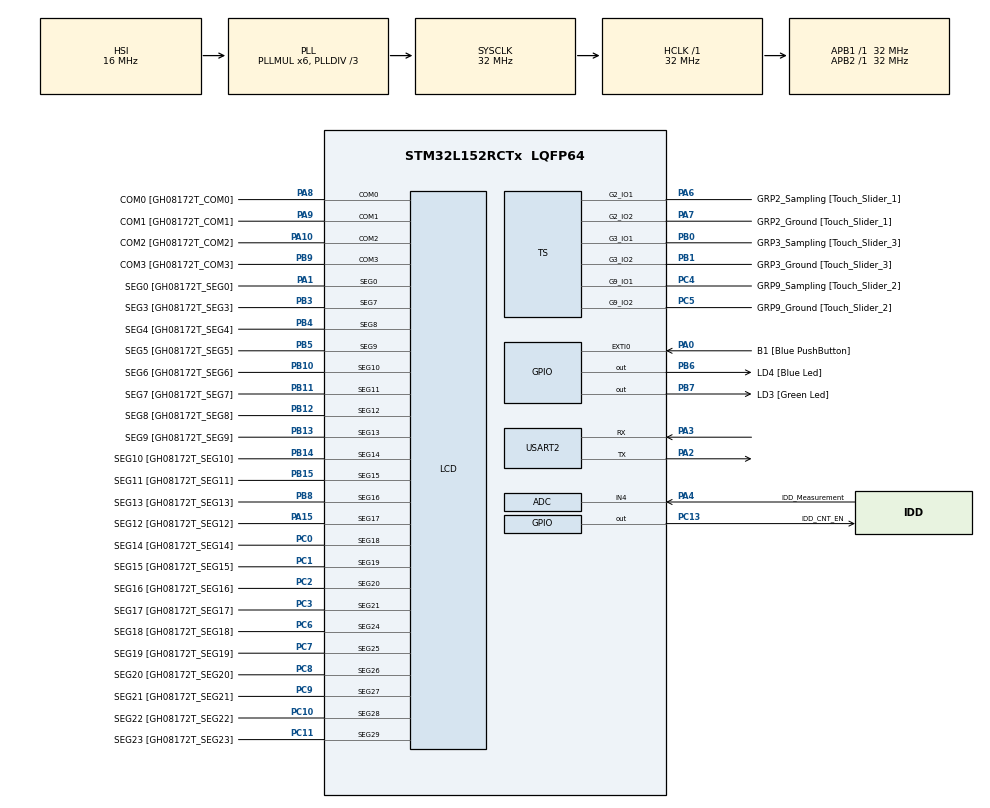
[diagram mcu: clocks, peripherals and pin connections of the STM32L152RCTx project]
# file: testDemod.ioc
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ADC.Channel=ADC_CHANNEL_4
ADC.Channel-0\#ChannelRegularConversion=ADC_CHANNEL_4
ADC.Channel-IN4=ADC_CHANNEL_4
ADC.ExternalTrigConv=ADC_EXTERNALTRIGCONV_T2_CC3
ADC.ExternalTrigConv-0\#ChannelRegularConversion=ADC_SOFTWARE_START
ADC.ExternalTrigConvEdge=ADC_EXTERNALTRIGCONVEDGE_RISING
ADC.Rank-0\#ChannelRegularConversion=1
ADC.SamplingTime-0\#ChannelRegularConversion=ADC_SAMPLETIME_4CYCLES
Mcu.Family=STM32L1
Mcu.Name=STM32L152RCTx
Mcu.Package=LQFP64
NVIC.PriorityGroup=NVIC_PRIORITYGROUP_0
PA0-WKUP1.GPIO_Label=B1 [Blue PushButton]
PA0-WKUP1.GPIO_ModeDefaultEXTI=GPIO_MODE_EVT_RISING
PA0-WKUP1.GPIO_PuPd=GPIO_NOPULL
PA0-WKUP1.Signal=GPXTI0
PA1.GPIO_Label=SEG0 [GH08172T_SEG0]
PA1.GPIO_Mode=GPIO_MODE_AF_PP
PA1.GPIO_PuPd=GPIO_NOPULL
PA1.GPIO_Speed=GPIO_SPEED_FREQ_LOW
PA1.Mode=SEG0
PA1.Signal=LCD_SEG0
PA10.GPIO_Label=COM2 [GH08172T_COM2]
PA10.GPIO_Mode=GPIO_MODE_AF_PP
PA10.GPIO_PuPd=GPIO_NOPULL
PA10.GPIO_Speed=GPIO_SPEED_FREQ_LOW
PA10.Mode=1/4 Duty Cycle
PA10.Signal=LCD_COM2
PA13.GPIO_Label=SWDIO
PA13.Mode=Serial_Wire
PA13.Signal=SYS_JTMS-SWDIO
PA14.GPIO_Label=SWCLK
PA14.Mode=Serial_Wire
PA14.Signal=SYS_JTCK-SWCLK
PA15.GPIO_Label=SEG12 [GH08172T_SEG12]
PA15.GPIO_Mode=GPIO_MODE_AF_PP
PA15.GPIO_PuPd=GPIO_NOPULL
PA15.GPIO_Speed=GPIO_SPEED_FREQ_LOW
PA15.Mode=SEG17
PA15.Signal=LCD_SEG17
PA2.Mode=Asynchronous
PA2.Signal=USART2_TX
PA3.Mode=Asynchronous
PA3.Signal=USART2_RX
PA4.GPIO_Label=IDD_Measurement
PA4.GPIO_Mode=GPIO_MODE_ANALOG
PA4.GPIO_PuPd=GPIO_NOPULL
PA4.Mode=IN4
PA4.Signal=ADC_IN4
PA6.GPIO_Label=GRP2_Sampling [Touch_Slider_1]
PA6.Mode=G2_IO1-Sampling
PA6.Signal=TS_G2_IO1
PA7.GPIO_Label=GRP2_Ground [Touch_Slider_1]
PA7.Mode=G2_IO2-Channel
PA7.Signal=TS_G2_IO2
PA8.GPIO_Label=COM0 [GH08172T_COM0]
PA8.GPIO_Mode=GPIO_MODE_AF_PP
PA8.GPIO_PuPd=GPIO_NOPULL
PA8.GPIO_Speed=GPIO_SPEED_FREQ_LOW
PA8.Mode=1/4 Duty Cycle
PA8.Signal=LCD_COM0
PA9.GPIO_Label=COM1 [GH08172T_COM1]
PA9.GPIO_Mode=GPIO_MODE_AF_PP
PA9.GPIO_PuPd=GPIO_NOPULL
PA9.GPIO_Speed=GPIO_SPEED_FREQ_LOW
PA9.Mode=1/4 Duty Cycle
PA9.Signal=LCD_COM1
PB0.GPIO_Label=GRP3_Sampling [Touch_Slider_3]
PB0.Mode=G3_IO1-Sampling
PB0.Signal=TS_G3_IO1
PB1.GPIO_Label=GRP3_Ground [Touch_Slider_3]
PB1.Mode=G3_IO2-Channel
PB1.Signal=TS_G3_IO2
PB10.GPIO_Label=SEG6 [GH08172T_SEG6]
PB10.GPIO_Mode=GPIO_MODE_AF_PP
PB10.GPIO_PuPd=GPIO_NOPULL
PB10.GPIO_Speed=GPIO_SPEED_FREQ_LOW
PB10.Mode=SEG10
PB10.Signal=LCD_SEG10
PB11.GPIO_Label=SEG7 [GH08172T_SEG7]
PB11.GPIO_Mode=GPIO_MODE_AF_PP
PB11.GPIO_PuPd=GPIO_NOPULL
PB11.GPIO_Speed=GPIO_SPEED_FREQ_LOW
PB11.Mode=SEG11
PB11.Signal=LCD_SEG11
PB12.GPIO_Label=SEG8 [GH08172T_SEG8]
PB12.GPIO_Mode=GPIO_MODE_AF_PP
PB12.GPIO_PuPd=GPIO_NOPULL
PB12.GPIO_Speed=GPIO_SPEED_FREQ_LOW
PB12.Mode=SEG12
PB12.Signal=LCD_SEG12
PB13.GPIO_Label=SEG9 [GH08172T_SEG9]
PB13.GPIO_Mode=GPIO_MODE_AF_PP
PB13.GPIO_PuPd=GPIO_NOPULL
PB13.GPIO_Speed=GPIO_SPEED_FREQ_LOW
PB13.Mode=SEG13
PB13.Signal=LCD_SEG13
PB14.GPIO_Label=SEG10 [GH08172T_SEG10]
PB14.GPIO_Mode=GPIO_MODE_AF_PP
PB14.GPIO_PuPd=GPIO_NOPULL
PB14.GPIO_Speed=GPIO_SPEED_FREQ_LOW
PB14.Mode=SEG14
PB14.Signal=LCD_SEG14
PB15.GPIO_Label=SEG11 [GH08172T_SEG11]
PB15.GPIO_Mode=GPIO_MODE_AF_PP
PB15.GPIO_PuPd=GPIO_NOPULL
PB15.GPIO_Speed=GPIO_SPEED_FREQ_LOW
PB15.Mode=SEG15
PB15.Signal=LCD_SEG15
PB3.GPIO_Label=SEG3 [GH08172T_SEG3]
PB3.GPIO_Mode=GPIO_MODE_AF_PP
PB3.GPIO_PuPd=GPIO_NOPULL
PB3.GPIO_Speed=GPIO_SPEED_FREQ_LOW
PB3.Mode=SEG7
PB3.Signal=LCD_SEG7
PB4.GPIO_Label=SEG4 [GH08172T_SEG4]
PB4.GPIO_Mode=GPIO_MODE_AF_PP
PB4.GPIO_PuPd=GPIO_NOPULL
PB4.GPIO_Speed=GPIO_SPEED_FREQ_LOW
PB4.Mode=SEG8
PB4.Signal=LCD_SEG8
PB5.GPIO_Label=SEG5 [GH08172T_SEG5]
PB5.GPIO_Mode=GPIO_MODE_AF_PP
PB5.GPIO_PuPd=GPIO_NOPULL
PB5.GPIO_Speed=GPIO_SPEED_FREQ_LOW
PB5.Mode=SEG9
PB5.Signal=LCD_SEG9
PB6.GPIO_Label=LD4 [Blue Led]
PB6.GPIO_ModeDefaultOutputPP=GPIO_MODE_OUTPUT_PP
PB6.GPIO_PuPd=GPIO_NOPULL
PB6.GPIO_Speed=GPIO_SPEED_FREQ_LOW
PB6.Signal=GPIO_Output
PB7.GPIO_Label=LD3 [Green Led]
PB7.GPIO_ModeDefaultOutputPP=GPIO_MODE_OUTPUT_PP
PB7.GPIO_PuPd=GPIO_NOPULL
PB7.GPIO_Speed=GPIO_SPEED_FREQ_LOW
PB7.Signal=GPIO_Output
PB8.GPIO_Label=SEG13 [GH08172T_SEG13]
PB8.GPIO_Mode=GPIO_MODE_AF_PP
PB8.GPIO_PuPd=GPIO_NOPULL
PB8.GPIO_Speed=GPIO_SPEED_FREQ_LOW
PB8.Mode=SEG16
PB8.Signal=LCD_SEG16
PB9.GPIO_Label=COM3 [GH08172T_COM3]
PB9.GPIO_Mode=GPIO_MODE_AF_PP
PB9.GPIO_PuPd=GPIO_NOPULL
PB9.GPIO_Speed=GPIO_SPEED_FREQ_LOW
PB9.Mode=1/4 Duty Cycle
PB9.Signal=LCD_COM3
PC0.GPIO_Label=SEG14 [GH08172T_SEG14]
PC0.GPIO_Mode=GPIO_MODE_AF_PP
PC0.GPIO_PuPd=GPIO_NOPULL
PC0.GPIO_Speed=GPIO_SPEED_FREQ_LOW
PC0.Mode=SEG18
PC0.Signal=LCD_SEG18
PC1.GPIO_Label=SEG15 [GH08172T_SEG15]
PC1.GPIO_Mode=GPIO_MODE_AF_PP
PC1.GPIO_PuPd=GPIO_NOPULL
PC1.GPIO_Speed=GPIO_SPEED_FREQ_LOW
PC1.Mode=SEG19
PC1.Signal=LCD_SEG19
PC10.GPIO_Label=SEG22 [GH08172T_SEG22]
PC10.GPIO_Mode=GPIO_MODE_AF_PP
PC10.GPIO_PuPd=GPIO_NOPULL
PC10.GPIO_Speed=GPIO_SPEED_FREQ_LOW
PC10.Mode=SEG28
PC10.Signal=LCD_SEG28
PC11.GPIO_Label=SEG23 [GH08172T_SEG23]
PC11.GPIO_Mode=GPIO_MODE_AF_PP
PC11.GPIO_PuPd=GPIO_NOPULL
PC11.GPIO_Speed=GPIO_SPEED_FREQ_LOW
PC11.Mode=SEG29
PC11.Signal=LCD_SEG29
PC13-WKUP2.GPIO_Label=IDD_CNT_EN
PC13-WKUP2.Signal=GPIO_Output
PC14-OSC32_IN.GPIO_Label=PC14-OSC32_IN
PC14-OSC32_IN.Mode=LSE-External-Oscillator
PC14-OSC32_IN.Signal=RCC_OSC32_IN
PC15-OSC32_OUT.GPIO_Label=PC15-OSC32_OUT
PC15-OSC32_OUT.Mode=LSE-External-Oscillator
PC15-OSC32_OUT.Signal=RCC_OSC32_OUT
PC2.GPIO_Label=SEG16 [GH08172T_SEG16]
PC2.GPIO_Mode=GPIO_MODE_AF_PP
PC2.GPIO_PuPd=GPIO_NOPULL
PC2.GPIO_Speed=GPIO_SPEED_FREQ_LOW
PC2.Mode=SEG20
PC2.Signal=LCD_SEG20
PC3.GPIO_Label=SEG17 [GH08172T_SEG17]
PC3.GPIO_Mode=GPIO_MODE_AF_PP
PC3.GPIO_PuPd=GPIO_NOPULL
PC3.GPIO_Speed=GPIO_SPEED_FREQ_LOW
PC3.Mode=SEG21
PC3.Signal=LCD_SEG21
PC4.GPIO_Label=GRP9_Sampling [Touch_Slider_2]
PC4.Mode=G9_IO1-Sampling
PC4.Signal=TS_G9_IO1
PC5.GPIO_Label=GRP9_Ground [Touch_Slider_2]
PC5.Mode=G9_IO2-Channel
PC5.Signal=TS_G9_IO2
PC6.GPIO_Label=SEG18 [GH08172T_SEG18]
PC6.GPIO_Mode=GPIO_MODE_AF_PP
PC6.GPIO_PuPd=GPIO_NOPULL
PC6.GPIO_Speed=GPIO_SPEED_FREQ_LOW
PC6.Mode=SEG24
PC6.Signal=LCD_SEG24
PC7.GPIO_Label=SEG19 [GH08172T_SEG19]
PC7.GPIO_Mode=GPIO_MODE_AF_PP
PC7.GPIO_PuPd=GPIO_NOPULL
PC7.GPIO_Speed=GPIO_SPEED_FREQ_LOW
PC7.Mode=SEG25
PC7.Signal=LCD_SEG25
PC8.GPIO_Label=SEG20 [GH08172T_SEG20]
PC8.GPIO_Mode=GPIO_MODE_AF_PP
PC8.GPIO_PuPd=GPIO_NOPULL
PC8.GPIO_Speed=GPIO_SPEED_FREQ_LOW
PC8.Mode=SEG26
PC8.Signal=LCD_SEG26
PC9.GPIO_Label=SEG21 [GH08172T_SEG21]
PC9.GPIO_Mode=GPIO_MODE_AF_PP
PC9.GPIO_PuPd=GPIO_NOPULL
PC9.GPIO_Speed=GPIO_SPEED_FREQ_LOW
PC9.Mode=SEG27
PC9.Signal=LCD_SEG27
ProjectManager.HeapSize=0x200
ProjectManager.StackSize=0x400
ProjectManager.TargetToolchain=STM32CubeIDE
RCC.48MHZClocksFreq_Value=48000000
RCC.AHBFreq_Value=32000000
RCC.APB1Freq_Value=32000000
RCC.APB1TimFreq_Value=32000000
RCC.APB2Freq_Value=32000000
RCC.APB2TimFreq_Value=32000000
RCC.HCLKFreq_Value=32000000
RCC.HSE_VALUE=8000000
RCC.HSI_VALUE=16000000
RCC.MSI_VALUE=2097000
RCC.PLLDIV=RCC_PLL_DIV3
RCC.PLLMUL=RCC_PLL_MUL6
RCC.RTCClockSelectionVirtual=RCC_RTCCLKSOURCE_LSE
RCC.SYSCLKFreq_VALUE=32000000
RCC.SYSCLKSource=RCC_SYSCLKSOURCE_PLLCLK
RCC.USBOutput=48000000
RCC.VCOOutputFreq_Value=96000000
USART2.VirtualMode=VM_ASYNC
board=STM32L152C-DISCO

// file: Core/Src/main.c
/* USER CODE BEGIN Header */
/**
  ******************************************************************************
  * @file           : main.c
  * @brief          : Main program body
  ******************************************************************************
  * @attention
  *
  * Copyright (c) 2022 STMicroelectronics.
  * All rights reserved.
  *
  * This software is licensed under terms that can be found in the LICENSE file
  * in the root directory of this software component.
  * If no LICENSE file comes with this software, it is provided AS-IS.
  *
  ******************************************************************************
  */
/* USER CODE END Header */
#include "main.h"

/* USER CODE BEGIN Includes */
#include <stdio.h>
#include "demod.h"
#include "complexLib.h"
#include <stdlib.h>
/* USER CODE END Includes */

ADC_HandleTypeDef hadc;

LCD_HandleTypeDef hlcd;

UART_HandleTypeDef huart2;

void SystemClock_Config(void);
static void MX_GPIO_Init(void);
static void MX_ADC_Init(void);
static void MX_LCD_Init(void);
static void MX_TS_Init(void);
static void MX_USART2_UART_Init(void);

/* USER CODE BEGIN 0 */
const int sizeVectors = 10;
/* USER CODE END 0 */

int main(void)
{

  /* MCU Configuration--------------------------------------------------------*/

  /* Reset of all peripherals, Initializes the Flash interface and the Systick. */
  HAL_Init();

  /* Configure the system clock */
  SystemClock_Config();

  /* Initialize all configured peripherals */
  MX_GPIO_Init();
  MX_ADC_Init();
  MX_LCD_Init();
  MX_TS_Init();
  MX_USART2_UART_Init();
  /* USER CODE BEGIN 2 */
  struct complex *bufferComplexPointer = (struct complex*) malloc(sizeVectors*sizeof(struct complex));
  double *bufferDoublePointer = (double*) malloc(sizeVectors*sizeof(double));

     // generate random input and test demod
     for(int i = 0; i< sizeVectors; i++){
      (bufferComplexPointer+i)->real=3.0;
      (bufferComplexPointer+i)->imag=7.0;
     }
      demodulate(bufferComplexPointer,bufferDoublePointer,230400,161975000.0,2,sizeVectors);
      for(int i = 0; i< sizeVectors; i++){
    	  uint8_t data[10];
    	  double value=*(bufferDoublePointer + i);
    	  snprintf(data, 10, "%f", value);
    	  HAL_UART_Transmit (&huart2, data, sizeof (data), 10);
    	  uint8_t space[]="\r\n";
    	  HAL_UART_Transmit (&huart2, space, sizeof (space), 10);
     }
     free(bufferComplexPointer);
     free(bufferDoublePointer);
  /* USER CODE END 2 */

  /* Infinite loop */
  while (1)
  {

  }
}

void SystemClock_Config(void)
{
  RCC_OscInitTypeDef RCC_OscInitStruct = {0};
  RCC_ClkInitTypeDef RCC_ClkInitStruct = {0};
  RCC_PeriphCLKInitTypeDef PeriphClkInit = {0};

  /** Configure the main internal regulator output voltage
  */
  __HAL_PWR_VOLTAGESCALING_CONFIG(PWR_REGULATOR_VOLTAGE_SCALE1);

  /** Initializes the RCC Oscillators according to the specified parameters
  * in the RCC_OscInitTypeDef structure.
  */
  RCC_OscInitStruct.OscillatorType = RCC_OSCILLATORTYPE_HSI|RCC_OSCILLATORTYPE_LSE;
  RCC_OscInitStruct.LSEState = RCC_LSE_ON;
  RCC_OscInitStruct.HSIState = RCC_HSI_ON;
  RCC_OscInitStruct.HSICalibrationValue = RCC_HSICALIBRATION_DEFAULT;
  RCC_OscInitStruct.PLL.PLLState = RCC_PLL_ON;
  RCC_OscInitStruct.PLL.PLLSource = RCC_PLLSOURCE_HSI;
  RCC_OscInitStruct.PLL.PLLMUL = RCC_PLL_MUL6;
  RCC_OscInitStruct.PLL.PLLDIV = RCC_PLL_DIV3;
  if (HAL_RCC_OscConfig(&RCC_OscInitStruct) != HAL_OK)
  {
    Error_Handler();
  }

  /** Initializes the CPU, AHB and APB buses clocks
  */
  RCC_ClkInitStruct.ClockType = RCC_CLOCKTYPE_HCLK|RCC_CLOCKTYPE_SYSCLK
                              |RCC_CLOCKTYPE_PCLK1|RCC_CLOCKTYPE_PCLK2;
  RCC_ClkInitStruct.SYSCLKSource = RCC_SYSCLKSOURCE_PLLCLK;
  RCC_ClkInitStruct.AHBCLKDivider = RCC_SYSCLK_DIV1;
  RCC_ClkInitStruct.APB1CLKDivider = RCC_HCLK_DIV1;
  RCC_ClkInitStruct.APB2CLKDivider = RCC_HCLK_DIV1;

  if (HAL_RCC_ClockConfig(&RCC_ClkInitStruct, FLASH_LATENCY_1) != HAL_OK)
  {
    Error_Handler();
  }
  PeriphClkInit.PeriphClockSelection = RCC_PERIPHCLK_RTC|RCC_PERIPHCLK_LCD;
  PeriphClkInit.RTCClockSelection = RCC_RTCCLKSOURCE_LSE;
  PeriphClkInit.LCDClockSelection = RCC_RTCCLKSOURCE_LSE;

  if (HAL_RCCEx_PeriphCLKConfig(&PeriphClkInit) != HAL_OK)
  {
    Error_Handler();
  }
}

static void MX_ADC_Init(void)
{

  ADC_ChannelConfTypeDef sConfig = {0};

  /** Configure the global features of the ADC (Clock, Resolution, Data Alignment and number of conversion)
  */
  hadc.Instance = ADC1;
  hadc.Init.ClockPrescaler = ADC_CLOCK_ASYNC_DIV1;
  hadc.Init.Resolution = ADC_RESOLUTION_12B;
  hadc.Init.DataAlign = ADC_DATAALIGN_RIGHT;
  hadc.Init.ScanConvMode = ADC_SCAN_DISABLE;
  hadc.Init.EOCSelection = ADC_EOC_SEQ_CONV;
  hadc.Init.LowPowerAutoWait = ADC_AUTOWAIT_DISABLE;
  hadc.Init.LowPowerAutoPowerOff = ADC_AUTOPOWEROFF_DISABLE;
  hadc.Init.ChannelsBank = ADC_CHANNELS_BANK_A;
  hadc.Init.ContinuousConvMode = DISABLE;
  hadc.Init.NbrOfConversion = 1;
  hadc.Init.DiscontinuousConvMode = DISABLE;
  hadc.Init.ExternalTrigConv = ADC_EXTERNALTRIGCONV_T2_CC3;
  hadc.Init.ExternalTrigConvEdge = ADC_EXTERNALTRIGCONVEDGE_RISING;
  hadc.Init.DMAContinuousRequests = DISABLE;
  if (HAL_ADC_Init(&hadc) != HAL_OK)
  {
    Error_Handler();
  }

  /** Configure for the selected ADC regular channel its corresponding rank in the sequencer and its sample time.
  */
  sConfig.Channel = ADC_CHANNEL_4;
  sConfig.Rank = ADC_REGULAR_RANK_1;
  sConfig.SamplingTime = ADC_SAMPLETIME_4CYCLES;
  if (HAL_ADC_ConfigChannel(&hadc, &sConfig) != HAL_OK)
  {
    Error_Handler();
  }

}

static void MX_LCD_Init(void)
{

  hlcd.Instance = LCD;
  hlcd.Init.Prescaler = LCD_PRESCALER_1;
  hlcd.Init.Divider = LCD_DIVIDER_16;
  hlcd.Init.Duty = LCD_DUTY_1_4;
  hlcd.Init.Bias = LCD_BIAS_1_4;
  hlcd.Init.VoltageSource = LCD_VOLTAGESOURCE_INTERNAL;
  hlcd.Init.Contrast = LCD_CONTRASTLEVEL_0;
  hlcd.Init.DeadTime = LCD_DEADTIME_0;
  hlcd.Init.PulseOnDuration = LCD_PULSEONDURATION_0;
  hlcd.Init.MuxSegment = LCD_MUXSEGMENT_DISABLE;
  hlcd.Init.BlinkMode = LCD_BLINKMODE_OFF;
  hlcd.Init.BlinkFrequency = LCD_BLINKFREQUENCY_DIV8;
  if (HAL_LCD_Init(&hlcd) != HAL_OK)
  {
    Error_Handler();
  }

}

static void MX_TS_Init(void)
{

}

static void MX_USART2_UART_Init(void)
{

  huart2.Instance = USART2;
  huart2.Init.BaudRate = 115200;
  huart2.Init.WordLength = UART_WORDLENGTH_8B;
  huart2.Init.StopBits = UART_STOPBITS_1;
  huart2.Init.Parity = UART_PARITY_NONE;
  huart2.Init.Mode = UART_MODE_TX_RX;
  huart2.Init.HwFlowCtl = UART_HWCONTROL_NONE;
  huart2.Init.OverSampling = UART_OVERSAMPLING_16;
  if (HAL_UART_Init(&huart2) != HAL_OK)
  {
    Error_Handler();
  }

}

static void MX_GPIO_Init(void)
{
  GPIO_InitTypeDef GPIO_InitStruct = {0};

  /* GPIO Ports Clock Enable */
  __HAL_RCC_GPIOC_CLK_ENABLE();
  __HAL_RCC_GPIOA_CLK_ENABLE();
  __HAL_RCC_GPIOB_CLK_ENABLE();

  /*Configure GPIO pin Output Level */
  HAL_GPIO_WritePin(IDD_CNT_EN_GPIO_Port, IDD_CNT_EN_Pin, GPIO_PIN_RESET);

  /*Configure GPIO pin Output Level */
  HAL_GPIO_WritePin(GPIOB, LD4_Pin|LD3_Pin, GPIO_PIN_RESET);

  /*Configure GPIO pin : IDD_CNT_EN_Pin */
  GPIO_InitStruct.Pin = IDD_CNT_EN_Pin;
  GPIO_InitStruct.Mode = GPIO_MODE_OUTPUT_PP;
  GPIO_InitStruct.Pull = GPIO_NOPULL;
  GPIO_InitStruct.Speed = GPIO_SPEED_FREQ_LOW;
  HAL_GPIO_Init(IDD_CNT_EN_GPIO_Port, &GPIO_InitStruct);

  /*Configure GPIO pin : B1_Pin */
  GPIO_InitStruct.Pin = B1_Pin;
  GPIO_InitStruct.Mode = GPIO_MODE_EVT_RISING;
  GPIO_InitStruct.Pull = GPIO_NOPULL;
  HAL_GPIO_Init(B1_GPIO_Port, &GPIO_InitStruct);

  /*Configure GPIO pins : LD4_Pin LD3_Pin */
  GPIO_InitStruct.Pin = LD4_Pin|LD3_Pin;
  GPIO_InitStruct.Mode = GPIO_MODE_OUTPUT_PP;
  GPIO_InitStruct.Pull = GPIO_NOPULL;
  GPIO_InitStruct.Speed = GPIO_SPEED_FREQ_LOW;
  HAL_GPIO_Init(GPIOB, &GPIO_InitStruct);

}

void Error_Handler(void)
{
  __disable_irq();
  while (1)
  {
  }
}
